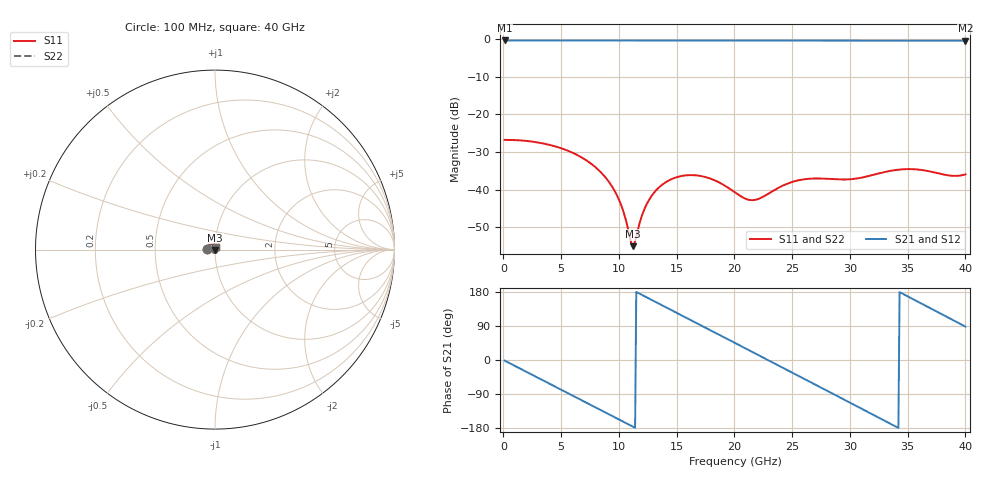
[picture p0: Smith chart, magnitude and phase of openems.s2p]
! thru_ts6_L1: 2×thru, L1, 8 mm
! stackup: ThunderScope Rev5.3 6-layer (FR408HR / FR-4, from the board file)
! ports: 1, 2
! openEMS 0.37.0, staircase, fine mesh (dfine 0.0175 mm), 590436 cells
# Hz S RI R 50
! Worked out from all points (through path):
!   400 points, 100 MHz to 40 GHz, reference 50 ohm
!   highest |S21| = -0.41 dB at 100 MHz (marker M1); lowest = -0.5 dB at 40 GHz (marker M2)
!   group delay of S21, straight-line fit = 43.9 ps
!   lowest |S11| = -55.0 dB at 11.2 GHz (marker M3), VSWR 1.00, Z = 50.1 - j0.149 ohm
!   |S11| at or under -10 dB: start of sweep to end of sweep
!   |S22| runs from -55.0 to -26.8 dB; largest |S21 - S12| = 0
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1e8  -0.0459 0.000941  0.9536 -0.0261  0.9536 -0.0261  -0.0459 0.000941
1.9e9  -0.0411 0.0172  0.8276 -0.4741  0.8276 -0.4741  -0.0411 0.0172
3.8e9  -0.0276 0.029  0.4825 -0.8227  0.4825 -0.8227  -0.0276 0.029
6.8e9  -0.00133 0.0267  -0.2736 -0.9133  -0.2736 -0.9133  -0.00133 0.0267
9.6e9  0.00685 0.00706  -0.8303 -0.4674  -0.8303 -0.4674  0.00685 0.00706
1.12e10  0.000986 -0.00149  -0.95 -0.0706  -0.95 -0.0706  0.000986 -0.00149
1.22e10  -0.00455 -0.00312  -0.9335 0.1892  -0.9335 0.1892  -0.00455 -0.00312
1.34e10  -0.0105 -0.000965  -0.8221 0.4807  -0.8221 0.4807  -0.0105 -0.000965
1.52e10  -0.013 0.00745  -0.4956 0.813  -0.4956 0.813  -0.013 0.00745
1.68e10  -0.00729 0.0136  -0.1024 0.9465  -0.1024 0.9465  -0.00729 0.0136
1.84e10  0.0019 0.013  0.3105 0.8997  0.3105 0.8997  0.0019 0.013
2.01e10  0.00791 0.00453  0.6826 0.6626  0.6826 0.6626  0.00791 0.00453
2.16e10  0.0057 -0.00453  0.8909 0.3326  0.8909 0.3326  0.0057 -0.00453
2.33e10  -0.00364 -0.00887  0.9446 -0.1055  0.9446 -0.1055  -0.00364 -0.00887
2.49e10  -0.0119 -0.00385  0.8086 -0.4988  0.8086 -0.4988  -0.0119 -0.00385
2.67e10  -0.0119 0.00758  0.4727 -0.8238  0.4727 -0.8238  -0.0119 0.00758
2.98e10  0.00908 0.0103  -0.3139 -0.8958  -0.3139 -0.8958  0.00908 0.0103
3.17e10  0.0146 -0.00458  -0.7215 -0.6162  -0.7215 -0.6162  0.0146 -0.00458
3.34e10  0.00599 -0.0166  -0.9222 -0.2207  -0.9222 -0.2207  0.00599 -0.0166
3.63e10  -0.0163 -0.00819  -0.7969 0.5121  -0.7969 0.5121  -0.0163 -0.00819
3.82e10  -0.0128 0.00938  -0.4293 0.8439  -0.4293 0.8439  -0.0128 0.00938
4e10  0.00512 0.0151  0.0298 0.9459  0.0298 0.9459  0.00512 0.0151
